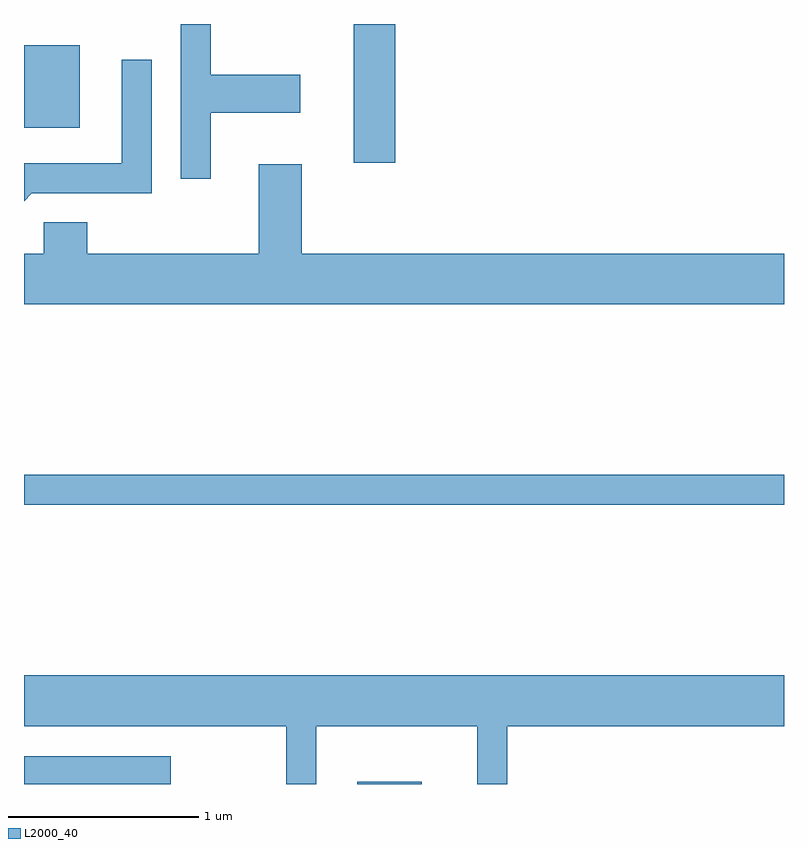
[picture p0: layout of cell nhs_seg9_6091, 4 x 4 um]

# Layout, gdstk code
import gdstk
lib = gdstk.Library(unit=1e-6, precision=1e-09)
def R(c, l, rs):  # rectangles x0, y0, x1, y1
    for r in rs: c.add(gdstk.rectangle(r[:2], r[2:], *l))
def P(c, l, *ps):  # polygons
    for p in ps: c.add(gdstk.Polygon(p, *l))
L2000_40 = (2000, 40)

nhs_seg9_6091 = lib.new_cell('nhs_seg9_6091')
R(nhs_seg9_6091, L2000_40, [(365.611,1960.432,366.383,1960.579), (367.366,1960.432,367.704,1960.444), (365.611,1961.901,369.611,1962.059), (367.346,1963.701,367.564,1964.432), (365.611,1963.886,365.904,1964.319)])
P(nhs_seg9_6091, L2000_40, [(366.594,1963.966),(367.064,1963.966),(367.064,1964.164),(366.594,1964.164),(366.594,1964.432),(366.436,1964.432),(366.436,1963.618),(366.594,1963.618)],
  [(365.652,1963.541),(366.284,1963.541),(366.284,1964.243),(366.126,1964.243),(366.126,1963.699),(365.611,1963.699),(365.611,1963.5)],
  [(369.611,1963.224),(367.074,1963.224),(367.074,1963.694),(366.846,1963.694),(366.846,1963.224),(365.944,1963.224),(365.944,1963.389),(365.716,1963.389),(365.716,1963.224),(365.611,1963.224),(365.611,1962.956),(369.611,1962.956)],
  [(367.149,1960.736),(367.996,1960.736),(367.996,1960.432),(368.154,1960.432),(368.154,1960.736),(369.611,1960.736),(369.611,1961.004),(365.611,1961.004),(365.611,1960.736),(366.991,1960.736),(366.991,1960.432),(367.149,1960.432)])

lib.write_gds('nhs_seg9_6091.gds')
